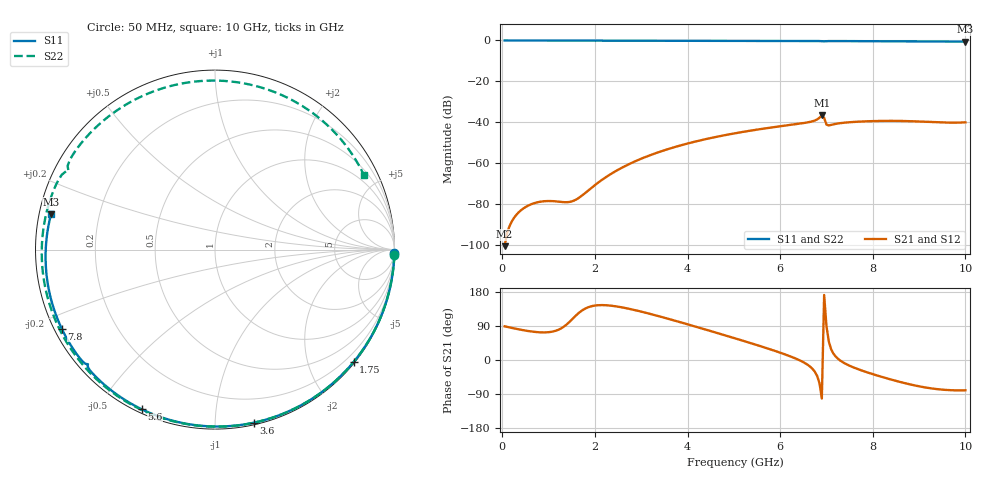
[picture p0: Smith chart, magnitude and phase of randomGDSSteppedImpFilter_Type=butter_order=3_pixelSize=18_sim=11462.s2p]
! freq	dB(S11)	phase(S11)	dB(S12)	phase(S12)
!  dB(S21)	phase(S21)	dB(S22)	phase(S22)
!S-par simulation data
#  GHz  S  DB  R 50
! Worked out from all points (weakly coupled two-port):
!   200 points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, 50 MHz to 10 GHz, reference 50 ohm
!   highest |S21| = -36.59 dB at 6.9 GHz (marker M1); lowest = -100.7 dB at 50 MHz (marker M2)
!   lowest |S11| = -0.6 dB at 10 GHz (marker M3), VSWR 29.55, Z = 1.71 + j5.3 ohm
!   |S11| at or under -10 dB: nowhere
!   |S22| runs from -0.7 to 0.0 dB; largest |S21 - S12| = 0
!   S11 on the Smith chart (normalised r, x): 50 MHz: open; 1.75 GHz: 0.03, -2.83; 3.6 GHz: 0.02, -1.25; 5.6 GHz: 0.02, -0.64; 7.8 GHz: 0.02, -0.24; 10 GHz: 0.03, +0.11
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0.05  -0.00 -1.1  -100.66 88.9  -100.66 88.9  -0.00 -1.6
0.75  -0.02 -16.9  -79.24 73.6  -79.24 73.6  -0.03 -23.1
1.45  -0.04 -32.4  -79.02 100.5  -79.02 100.5  -0.06 -44.4
1.75  -0.05 -39.0  -75.38 132.8  -75.38 132.8  -0.07 -53.3
2.5  -0.07 -54.9  -63.28 140.7  -63.28 140.7  -0.10 -75.3
3.4  -0.10 -73.3  -54.47 114.9  -54.47 114.9  -0.13 -101.1
3.6  -0.10 -77.2  -53.01 108.2  -53.01 108.2  -0.14 -106.8
4.3  -0.13 -90.7  -48.76 83.6  -48.76 83.6  -0.18 -126.7
5.05  -0.16 -104.7  -45.32 56.3  -45.32 56.3  -0.23 -148.3
5.6  -0.19 -114.6  -43.29 35.5  -43.29 35.5  -0.27 -164.7
6.15  -0.22 -124.3  -41.55 12.8  -41.55 12.8  -0.31 178.1
6.7  -0.26 -134.0  -39.54 -23.6  -39.54 -23.6  -0.37 159.6
6.9  -0.36 -137.8  -36.59 -101.9  -36.59 -101.9  -0.57 152.1
6.95  -0.42 -138.0  -37.88 171.6  -37.88 171.6  -0.67 151.8
7  -0.34 -138.6  -41.17 89.9  -41.17 89.9  -0.50 150.4
7.05  -0.31 -139.5  -41.58 48.9  -41.58 48.9  -0.44 148.4
7.8  -0.35 -152.7  -39.62 -29.4  -39.62 -29.4  -0.47 119.6
8.35  -0.40 -162.3  -39.34 -50.0  -39.34 -50.0  -0.51 97.3
8.75  -0.44 -169.3  -39.46 -62.8  -39.46 -62.8  -0.54 80.3
9.1  -0.48 -175.5  -39.77 -71.7  -39.77 -71.7  -0.56 65.2
9.55  -0.53 176.3  -40.17 -78.7  -40.17 -78.7  -0.60 45.7
10  -0.59 167.9  -40.08 -79.9  -40.08 -79.9  -0.65 26.7
